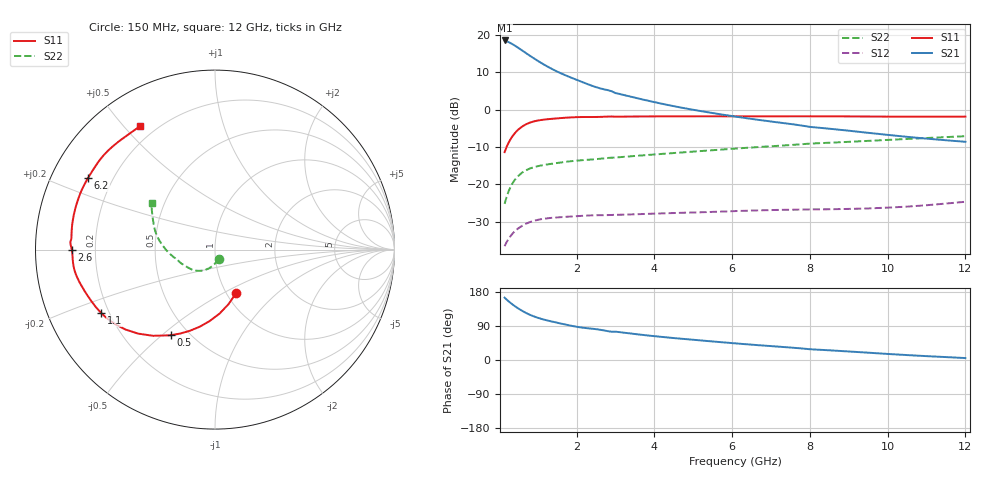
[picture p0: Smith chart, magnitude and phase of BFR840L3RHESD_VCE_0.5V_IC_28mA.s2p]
! Infineon Technologies  Discrete & RF Semiconductors
! BFR840L3RHESD
! VCE =  0.5 V,  IC =  28 mA
! Common Emitter S-Parameters:  Jun 2012
# GHz  S  MA  R  50
!  f  S11  S21  S12  S22
! GHz  MAG  ANG  MAG  ANG  MAG  ANG  MAG  ANG
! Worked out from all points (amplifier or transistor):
!   91 points, 150 MHz to 12 GHz, reference 50 ohm
!   highest |S21| = 18.5 dB at 150 MHz (marker M1)
!   |S21| within 3 dB of that: start of sweep to 645.3 MHz
!   unconditionally stable (mu >= 1): start of sweep to end of sweep
!   at 1.3 GHz: K = 1.69, MAG = 15.3 dB, |S12| = -29.1 dB
!   at 4.3 GHz: K = 3.39, MAG = 6.3 dB, |S12| = -27.8 dB
!   at 12 GHz: K = 6.86, MAG = -3.3 dB, |S12| = -24.7 dB
!   S11 on the Smith chart (normalised r, x): 150 MHz: 1.11, -0.58; 500 MHz: 0.40, -0.54; 1.1 GHz: 0.17, -0.25; 2.6 GHz: 0.11, -0.00; 6.2 GHz: 0.11, +0.26; 12 GHz: 0.14, +0.56
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0.15  0.2689 -63.9  8.422 164.5  0.0148 29.5  0.0545 -68.8
0.2  0.3142 -76.3  8.242 159.6  0.0167 32.8  0.0672 -81.7
0.3  0.3989 -94.2  7.784 150.9  0.0201 34.7  0.0913 -98.2
0.4  0.4735 -107.2  7.254 143.1  0.0231 34.0  0.112 -109.2
0.5  0.5377 -117.4  6.71 136.1  0.0256 32.4  0.1291 -117.5
0.6  0.5914 -125.7  6.187 129.8  0.0277 30.5  0.1429 -124.2
0.7  0.6347 -132.5  5.702 124.2  0.0296 28.8  0.1538 -129.8
0.8  0.6684 -138.2  5.26 119.3  0.0311 27.2  0.1623 -134.6
0.9  0.6937 -143.1  4.862 115.1  0.0323 25.8  0.169 -138.6
1.1  0.7264 -151.0  4.186 108.4  0.0341 23.4  0.1786 -145.0
1.3  0.7461 -157.3  3.651 103.1  0.0352 21.5  0.1859 -149.7
1.6  0.769 -164.4  3.057 96.1  0.0362 19.5  0.1957 -154.7
1.9  0.7872 -169.9  2.628 89.6  0.037 18.7  0.2044 -158.4
2.2  0.7943 -174.6  2.279 84.8  0.0379 18.9  0.2109 -161.7
2.6  0.7975 -179.8  1.927 79.9  0.0385 18.3  0.2191 -165.0
2.9  0.8069 177.0  1.762 74.6  0.0387 17.2  0.2268 -166.9
4.2  0.8106 165.0  1.195 60.9  0.0407 19.7  0.2547 -175.2
6.1  0.8122 151.3  0.803 43.8  0.0437 21.9  0.3004 173.7
6.2  0.812 150.6  0.789 42.9  0.0439 22.0  0.3029 173.1
8.5  0.8115 137.0  0.554 25.6  0.0462 23.6  0.3593 160.1
10.5  0.8028 127.2  0.431 13.0  0.0501 30.1  0.4038 150.1
12  0.8044 121.1  0.37 5.1  0.0582 32.5  0.4397 143.5
